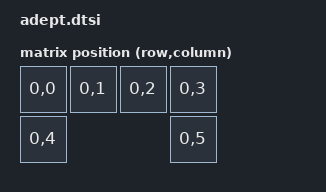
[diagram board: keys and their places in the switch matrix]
#include "adept-layouts.dtsi"
#include <dt-bindings/zmk/matrix_transform.h>

&physical_layout0 {
    transform = <&matrix_transform>;
};

/ {
    chosen {
        zmk,physical-layout = &physical_layout0;
    };

    matrix_transform: keymap_transform_0 {
        compatible = "zmk,matrix-transform";
        columns = <6>;
        rows = <1>;

        map = <
            RC(0,0) RC(0,1) RC(0,2) RC(0,3)
            RC(0,4)                 RC(0,5)
        >;
    };
};

/ {
    split_inputs {
        #address-cells = <1>;
        #size-cells = <0>;

        trackball_split: trackball_split@0 {
            compatible = "zmk,input-split";
            reg = <0>;
        };
    };

    trackball_listener: trackball_listener {
        compatible = "zmk,input-listener";
        status = "disabled";
        device = <&trackball_split>;
    };
};
